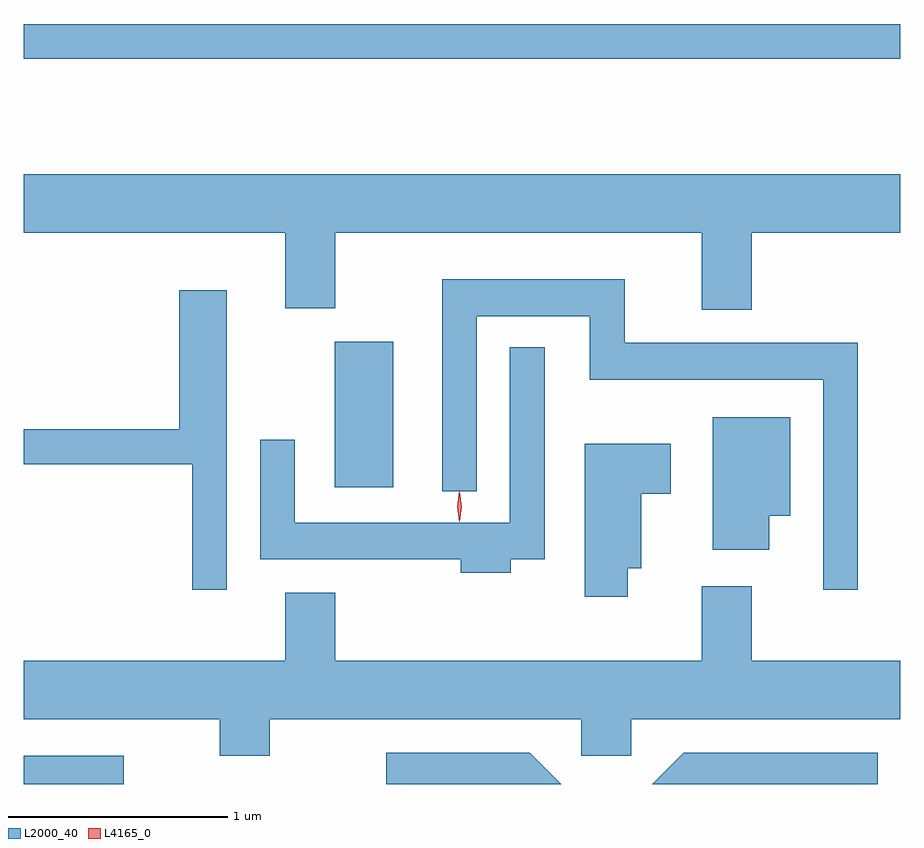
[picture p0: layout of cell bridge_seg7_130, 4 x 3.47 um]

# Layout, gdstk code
import gdstk
lib = gdstk.Library(unit=1e-6, precision=1e-09)
def R(c, l, rs):  # rectangles x0, y0, x1, y1
    for r in rs: c.add(gdstk.rectangle(r[:2], r[2:], *l))
def P(c, l, *ps):  # polygons
    for p in ps: c.add(gdstk.Polygon(p, *l))
L2000_40 = (2000, 40)
L4165_0 = (4165, 0)

bridge_seg7_130 = lib.new_cell('bridge_seg7_130')
R(bridge_seg7_130, L2000_40, [(1581.737,1791.721,1582.194,1791.849), (1583.156,1793.076,1583.424,1793.739), (1581.737,1795.031,1585.737,1795.189)])
P(bridge_seg7_130, L2000_40, [(1585.059,1794.236),(1585.737,1794.236),(1585.737,1794.504),(1581.737,1794.504),(1581.737,1794.236),(1582.931,1794.236),(1582.931,1793.891),(1583.159,1793.891),(1583.159,1794.236),(1584.831,1794.236),(1584.831,1793.886),(1585.059,1793.886)],
  [(1585.544,1793.734),(1584.479,1793.734),(1584.479,1794.024),(1583.646,1794.024),(1583.646,1793.058),(1583.804,1793.058),(1583.804,1793.856),(1584.321,1793.856),(1584.321,1793.566),(1585.386,1793.566),(1585.386,1792.608),(1585.544,1792.608)],
  [(1582.664,1793.974),(1582.446,1793.974),(1582.446,1793.339),(1581.737,1793.339),(1581.737,1793.181),(1582.506,1793.181),(1582.506,1792.608),(1582.664,1792.608)],
  [(1583.959,1792.746),(1584.114,1792.746),(1584.114,1793.713),(1583.956,1793.713),(1583.956,1792.914),(1582.974,1792.914),(1582.974,1793.293),(1582.816,1793.293),(1582.816,1792.746),(1583.731,1792.746),(1583.731,1792.686),(1583.959,1792.686)],
  [(1585.139,1792.946),(1585.234,1792.946),(1585.234,1793.394),(1584.881,1793.394),(1584.881,1792.791),(1585.139,1792.791)],
  [(1584.494,1792.706),(1584.554,1792.706),(1584.554,1793.046),(1584.689,1793.046),(1584.689,1793.274),(1584.296,1793.274),(1584.296,1792.576),(1584.494,1792.576)],
  [(1583.159,1792.594),(1582.931,1792.594),(1582.931,1792.284),(1581.737,1792.284),(1581.737,1792.016),(1582.631,1792.016),(1582.631,1791.851),(1582.859,1791.851),(1582.859,1792.016),(1584.281,1792.016),(1584.281,1791.851),(1584.509,1791.851),(1584.509,1792.016),(1585.737,1792.016),(1585.737,1792.284),(1585.059,1792.284),(1585.059,1792.624),(1584.831,1792.624),(1584.831,1792.284),(1583.159,1792.284)],
  [(1585.634,1791.864),(1584.749,1791.864),(1584.606,1791.721),(1585.634,1791.721)],
  [(1584.047,1791.864),(1583.391,1791.864),(1583.391,1791.721),(1584.19,1791.721)])
P(bridge_seg7_130, L4165_0, [(1583.724,1792.917),(1583.715,1792.986),(1583.724,1793.056),(1583.725,1793.056),(1583.725,1793.056),(1583.735,1792.986),(1583.725,1792.917),(1583.725,1792.917)],
  [(1583.725,1792.919),(1583.725,1792.92),(1583.715,1792.986),(1583.725,1793.052),(1583.725,1793.053),(1583.726,1793.052),(1583.735,1792.986),(1583.726,1792.92)])

lib.write_gds('bridge_seg7_130.gds')
